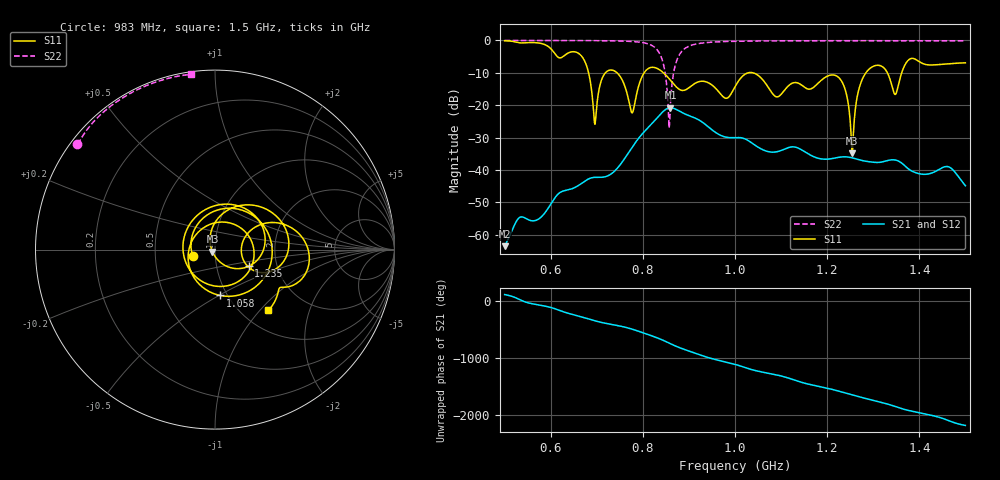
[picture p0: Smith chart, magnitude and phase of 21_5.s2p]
! TOUCHSTONE file generated by CST MICROWAVE STUDIO
! Date and time: Mon Nov 30 08:34:39 2020
! Project name: Scenario_1_Planar_Body_Tissue_Out_of_Line.cst
! Parameters = {dy1=0; L_HA=400; Ltissue=700; MT=2.54; Rad_Dielectric=30; Rad_Lower=7.3; Rad_Upper=30; Wtissue=700; a_HA=580; a_WG=246; b_HA=500; b_WG=121; c_HA=0; c_WG=187; d_feed=85; dx1=866; h_feed=15; h_lower=18; h_upper=40; hfat=3; hgap=25; hmuscle=50; hskin=1.5}
! Header version: 2018
! Port assignment regex: !\s*Touchstone port\s*([0-9]+)\s*=\s*(CST MWS port|CST DS port)\s*([0-9]+|Zmin|Zmax)\s*\(\"(.*)\"\)(\s*mode\s*([0-9]+))?.*
! Touchstone port assignment:
! Touchstone port 1 = CST MWS port 1 ("")
! Touchstone port 2 = CST MWS port 2 ("")
# GHz S DB R 50
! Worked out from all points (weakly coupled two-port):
!   1003 points, 500 MHz to 1.5 GHz, reference 50 ohm
!   highest |S21| = -20.77 dB at 860 MHz (marker M1); lowest = -63.5 dB at 500 MHz (marker M2)
!   lowest |S11| = -34.9 dB at 1.254 GHz (marker M3), VSWR 1.04, Z = 48.6 - j1.07 ohm
!   |S11| at or under -10 dB: 744.1 MHz to 802.8 MHz (58.75 MHz wide, 7.6 % of centre); 844.7 MHz to 1.028 GHz (183.7 MHz wide, 19.6 % of centre); 1.039 GHz to 1.284 GHz (244.8 MHz wide, 21.1 % of centre) (the widest 3 of 5)
!   |S22| runs from -27.0 to 0.0 dB; largest |S21 - S12| = 3.7e-05
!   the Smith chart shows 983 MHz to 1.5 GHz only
!   S11 on the Smith chart (normalised r, x): 983 MHz: 0.78, -0.05; 1.058 GHz: 0.93, -0.51; 1.235 GHz: 1.43, -0.28; 1.5 GHz: 1.31, -1.12
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0.5  -0.10 -122.1  -63.50 107.2  -63.50 107.2  -0.01 151.1
0.583  -1.07 -168.2  -53.98 -88.1  -53.98 -88.1  -0.02 145.4
0.667  -4.83 121.6  -44.11 77.3  -44.11 77.3  -0.04 138.4
0.696  -25.88 -44.2  -42.26 7.5  -42.26 7.5  -0.06 135.3
0.723  -9.47 168.7  -41.85 -42.3  -41.85 -42.3  -0.10 131.9
0.777  -22.36 -38.2  -32.93 -139.3  -32.93 -139.3  -0.33 121.1
0.806  -9.40 161.1  -27.72 142.0  -27.72 142.0  -0.85 109.3
0.834  -8.86 70.4  -23.44 60.1  -23.44 60.1  -3.48 82.8
0.86  -12.31 -16.3  -20.77 -34.3  -20.77 -34.3  -19.48 -119.1
0.886  -15.45 -128.5  -22.33 -122.0  -22.33 -122.0  -3.14 179.9
0.942  -13.05 6.2  -26.67 83.2  -26.67 83.2  -0.62 150.7
0.983  -17.81 -165.1  -29.92 0.4  -29.92 0.4  -0.31 142.5
1  -14.31 106.7  -29.99 -35.0  -29.99 -35.0  -0.26 140.1
1.03  -9.95 0.6  -31.02 -112.5  -31.02 -112.5  -0.20 136.5
1.058  -11.79 -83.5  -33.58 -168.3  -33.58 -168.3  -0.16 133.6
1.126  -13.10 -12.2  -32.84 57.8  -32.84 57.8  -0.11 127.5
1.167  -14.80 166.3  -35.64 -35.4  -35.64 -35.4  -0.10 124.1
1.235  -13.58 -26.3  -35.92 -166.7  -35.92 -166.7  -0.08 119.0
1.254  -34.87 -142.3  -36.23 149.0  -36.23 149.0  -0.08 117.5
1.283  -10.21 53.9  -37.27 88.3  -37.27 88.3  -0.08 115.3
1.334  -11.03 -26.9  -36.98 -17.0  -36.98 -17.0  -0.09 111.5
1.5  -6.91 -48.7  -44.85 -25.0  -44.85 -25.0  -0.13 97.9
